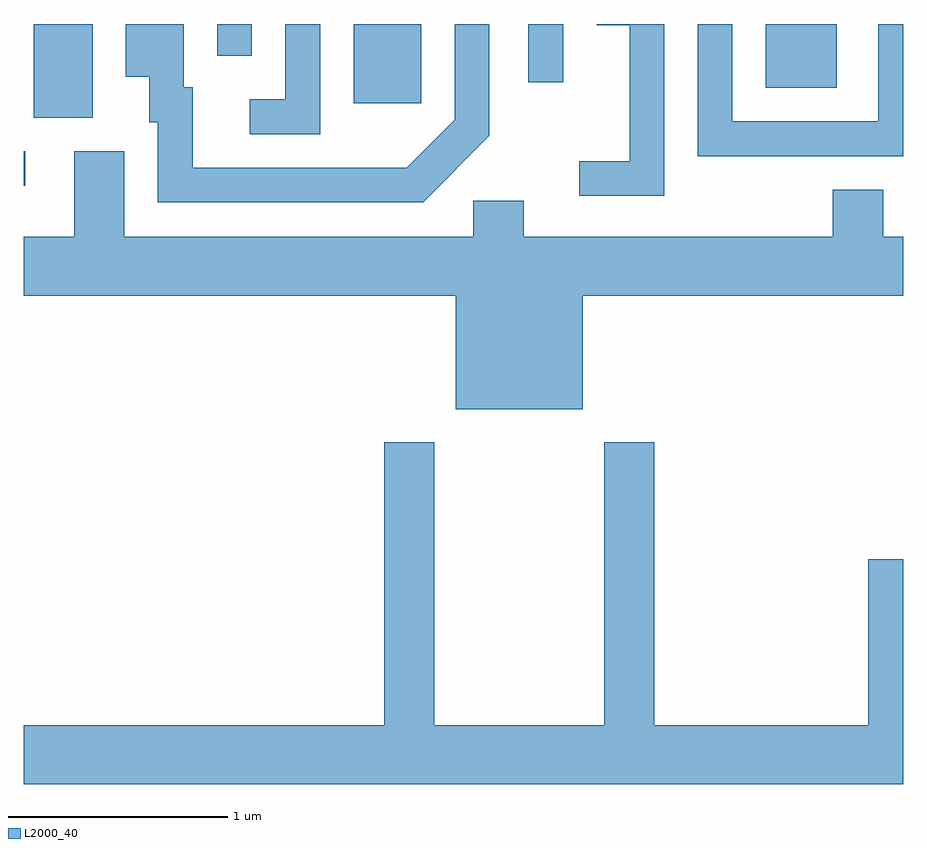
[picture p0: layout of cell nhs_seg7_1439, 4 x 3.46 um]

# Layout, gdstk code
import gdstk
lib = gdstk.Library(unit=1e-6, precision=1e-09)
def R(c, l, rs):  # rectangles x0, y0, x1, y1
    for r in rs: c.add(gdstk.rectangle(r[:2], r[2:], *l))
def P(c, l, *ps):  # polygons
    for p in ps: c.add(gdstk.Polygon(p, *l))
L2000_40 = (2000, 40)

nhs_seg7_1439 = lib.new_cell('nhs_seg7_1439')
R(nhs_seg7_1439, L2000_40, [(229.611,1681.516,229.618,1681.674), (229.656,1681.826,229.924,1682.252), (231.111,1681.891,231.419,1682.252), (232.986,1681.961,233.309,1682.252), (231.906,1681.988,232.064,1682.252), (230.491,1682.108,230.649,1682.252)])
P(nhs_seg7_1439, L2000_40, [(233.611,1682.252),(233.496,1682.252),(233.496,1681.809),(232.834,1681.809),(232.834,1682.252),(232.676,1682.252),(232.676,1681.651),(233.611,1681.651)],
  [(231.729,1681.744),(231.729,1682.252),(231.571,1682.252),(231.571,1681.817),(231.354,1681.599),(230.379,1681.599),(230.379,1681.964),(230.339,1681.964),(230.339,1682.252),(230.076,1682.252),(230.076,1682.011),(230.181,1682.011),(230.181,1681.806),(230.221,1681.806),(230.221,1681.441),(231.427,1681.441)],
  [(232.524,1682.252),(232.216,1682.252),(232.216,1682.246),(232.366,1682.246),(232.366,1681.629),(232.138,1681.629),(232.138,1681.471),(232.524,1681.471)],
  [(230.959,1682.252),(230.801,1682.252),(230.801,1681.909),(230.638,1681.909),(230.638,1681.751),(230.959,1681.751)],
  [(232.154,1681.016),(233.611,1681.016),(233.611,1681.284),(233.519,1681.284),(233.519,1681.499),(233.291,1681.499),(233.291,1681.284),(231.884,1681.284),(231.884,1681.449),(231.656,1681.449),(231.656,1681.284),(230.069,1681.284),(230.069,1681.674),(229.841,1681.674),(229.841,1681.284),(229.611,1681.284),(229.611,1681.016),(231.576,1681.016),(231.576,1680.501),(232.154,1680.501)],
  [(233.611,1679.819),(233.451,1679.819),(233.451,1679.064),(232.479,1679.064),(232.479,1680.349),(232.251,1680.349),(232.251,1679.064),(231.479,1679.064),(231.479,1680.349),(231.251,1680.349),(231.251,1679.064),(229.611,1679.064),(229.611,1678.796),(233.611,1678.796)])

lib.write_gds('nhs_seg7_1439.gds')
